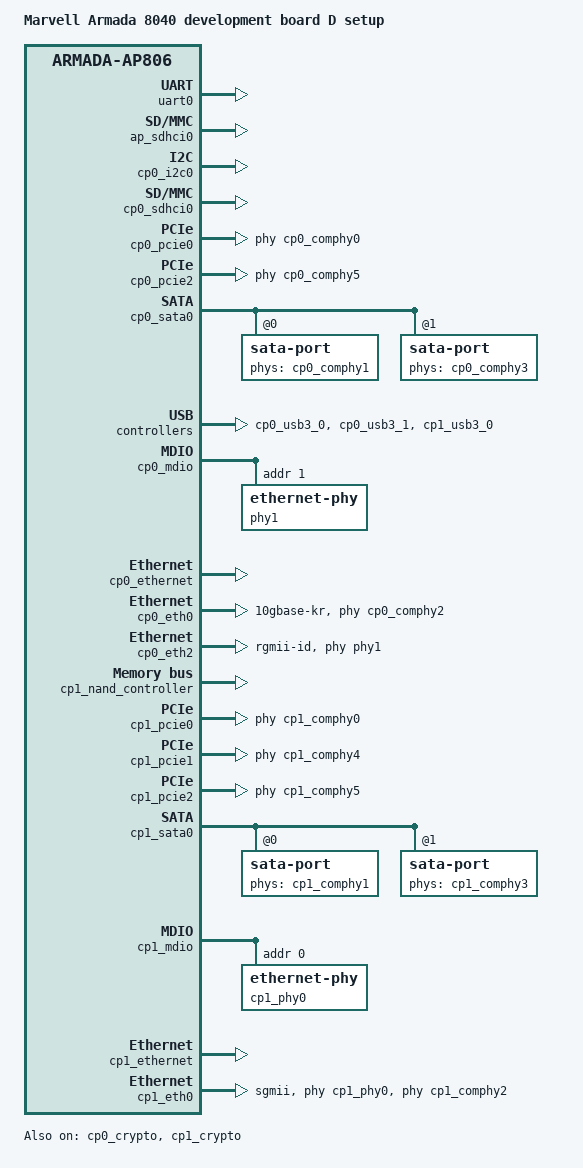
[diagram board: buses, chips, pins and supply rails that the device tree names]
// SPDX-License-Identifier: (GPL-2.0+ OR MIT)
/*
 * Device Tree file for Marvell Armada 8040 development board
 * This file supports option D configuration
 * AP_UART,AP_eMMC-8b,CP0_RGMII1,CP0_SDIO-4b,CP0_I2C,CP1_NAND,CP1_UART
 */

#include "armada-8040-db.dtsi"

/ {
	model = "Marvell Armada 8040 development board D setup";
	compatible = "marvell,armada8040-db-D", "marvell,armada8040-db",
		"marvell,armada8040", "marvell,armada-ap806-quad",
		"marvell,armada-ap806";

	chosen {
		stdout-path = "serial0:115200n8";
	};

	aliases {
		ethernet0 = &cp0_eth0;
		ethernet1 = &cp0_eth2;
		ethernet2 = &cp1_eth0;
	};
};

&uart0 {
	status = "okay";
};

&ap_sdhci0 {
	status = "okay";
};

&cp0_i2c0 {
	status = "okay";
};

&cp0_sdhci0 {
	status = "okay";
};

/* CON6 on CP0 expansion */
&cp0_pcie0 {
	status = "okay";
	phys = <&cp0_comphy0 0>;
};

/* CON5 on CP0 expansion */
&cp0_pcie2 {
	status = "okay";
	phys = <&cp0_comphy5 2>;
};

&cp0_sata0 {
	status = "okay";
	/* CON2 on CP0 expansion */
	sata-port@0 {
		status = "okay";
		/* Generic PHY, providing serdes lanes */
		phys = <&cp0_comphy1 0>;
	};
	/* CON4 on CP0 expansion */
	sata-port@1 {
		status = "okay";
		/* Generic PHY, providing serdes lanes */
		phys = <&cp0_comphy3 1>;
	};
};

/* CON9 on CP0 expansion */
&cp0_usb3_0 {
	status = "okay";
};

/* CON10 on CP0 expansion */
&cp0_usb3_1 {
	status = "okay";
};

&cp0_mdio {
	status = "okay";

	phy1: ethernet-phy@1 {
		reg = <1>;
	};
};

&cp0_ethernet {
	status = "okay";
};

&cp0_eth0 {
	status = "okay";
	phy-mode = "10gbase-kr";
	/* Generic PHY, providing serdes lanes */
	phys = <&cp0_comphy2 0>;
	managed = "in-band-status";
	sfp = <&sfp_eth0>;
};

&cp0_eth2 {
	status = "okay";
	phy = <&phy1>;
	phy-mode = "rgmii-id";
};


&cp1_nand_controller {
	status = "okay";
};

/* CON6 on CP1 expansion */
&cp1_pcie0 {
	status = "okay";
	phys = <&cp1_comphy0 0>;
};

/* CON7 on CP1 expansion */
&cp1_pcie1 {
	status = "okay";
	phys = <&cp1_comphy4 1>;
};

/* CON5 on CP1 expansion */
&cp1_pcie2 {
	status = "okay";
	phys = <&cp1_comphy5 2>;
};

/* CON4 on CP1 expansion */
&cp1_sata0 {
	status = "okay";
	/* CON2 on CP1 expansion */
	sata-port@0 {
		status = "okay";
		/* Generic PHY, providing serdes lanes */
		phys = <&cp1_comphy1 0>;
	};
	/* CON4 on CP1 expansion */
	sata-port@1 {
		status = "okay";
		/* Generic PHY, providing serdes lanes */
		phys = <&cp1_comphy3 1>;
	};
};

/* CON9 on CP1 expansion */
&cp1_usb3_0 {
	status = "okay";
};

&cp1_mdio {
	status = "okay";

	cp1_phy0: ethernet-phy@0 {
		reg = <0>;
	};
};

&cp1_ethernet {
	status = "okay";
};

&cp1_eth0 {
	status = "okay";
	/* Network PHY */
	phy = <&cp1_phy0>;
	phy-mode = "sgmii";
	/* Generic PHY, providing serdes lanes */
	phys = <&cp1_comphy2 0>;
};

&cp0_crypto {
	status = "okay";
};

&cp1_crypto {
	status = "okay";
};
